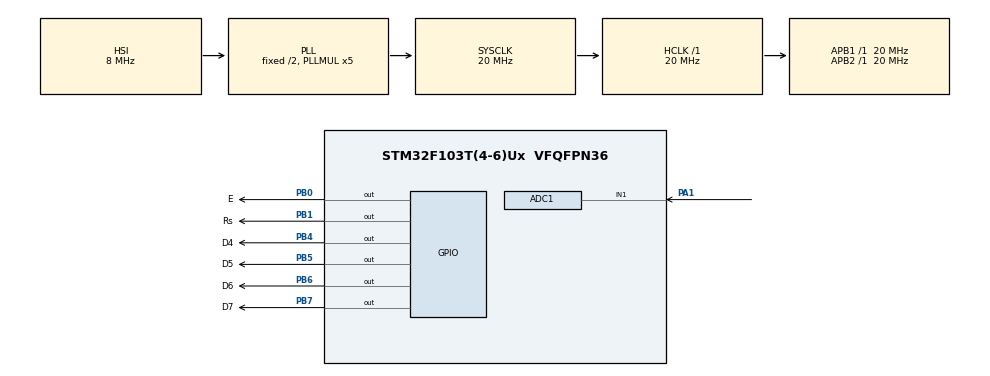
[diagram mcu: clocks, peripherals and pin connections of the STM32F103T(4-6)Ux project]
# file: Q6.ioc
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ADC1.Channel-0\#ChannelRegularConversion=ADC_CHANNEL_1
ADC1.NbrOfConversionFlag=1
ADC1.Rank-0\#ChannelRegularConversion=1
ADC1.SamplingTime-0\#ChannelRegularConversion=ADC_SAMPLETIME_1CYCLE_5
ADC1.master=1
Mcu.Family=STM32F1
Mcu.Name=STM32F103T(4-6)Ux
Mcu.Package=VFQFPN36
NVIC.PriorityGroup=NVIC_PRIORITYGROUP_4
PA1.Signal=ADCx_IN1
PB0.GPIO_Label=E
PB0.Signal=GPIO_Output
PB1.GPIO_Label=Rs
PB1.Signal=GPIO_Output
PB4.GPIO_Label=D4
PB4.Signal=GPIO_Output
PB5.GPIO_Label=D5
PB5.Signal=GPIO_Output
PB6.GPIO_Label=D6
PB6.Signal=GPIO_Output
PB7.GPIO_Label=D7
PB7.Signal=GPIO_Output
ProjectManager.HeapSize=0x200
ProjectManager.StackSize=0x400
ProjectManager.TargetToolchain=STM32CubeIDE
RCC.AHBFreq_Value=20000000
RCC.APB1Freq_Value=20000000
RCC.APB1TimFreq_Value=20000000
RCC.APB2Freq_Value=20000000
RCC.APB2TimFreq_Value=20000000
RCC.HCLKFreq_Value=20000000
RCC.PLLMUL=RCC_PLL_MUL5
RCC.SYSCLKFreq_VALUE=20000000
RCC.SYSCLKSource=RCC_SYSCLKSOURCE_PLLCLK
RCC.USBFreq_Value=20000000
SH.ADCx_IN1.0=ADC1_IN1,IN1
board=custom

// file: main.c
/* USER CODE BEGIN Header */
/**
  ******************************************************************************
  * @file           : main.c
  * @brief          : Main program body
  ******************************************************************************
  * @attention
  *
  * Copyright (c) 2023 STMicroelectronics.
  * All rights reserved.
  *
  * This software is licensed under terms that can be found in the LICENSE file
  * in the root directory of this software component.
  * If no LICENSE file comes with this software, it is provided AS-IS.
  *
  ******************************************************************************
  */
#include "lcd.h"
#include <stdio.h>

/* USER CODE END Header */
#include "main.h"

/* USER CODE BEGIN Includes */
Lcd_HandleTypeDef lcd;
Lcd_PinType Pins[] = {GPIO_PIN_4,GPIO_PIN_5,GPIO_PIN_6,GPIO_PIN_7};
Lcd_PortType Ports[] = {GPIOB,GPIOB,GPIOB,GPIOB};

/* USER CODE END Includes */

ADC_HandleTypeDef hadc1;

void SystemClock_Config(void);
static void MX_GPIO_Init(void);
static void MX_ADC1_Init(void);

/* USER CODE BEGIN 0 */
int adcValue;
/* USER CODE END 0 */

int main(void)
{
  /* USER CODE BEGIN 1 */
	char stra[16];
	float a = 309.6;
	float b = -13.04;
//	char strb[16];
//	float b ;
  /* USER CODE END 1 */

  /* MCU Configuration--------------------------------------------------------*/

  /* Reset of all peripherals, Initializes the Flash interface and the Systick. */
  HAL_Init();

  /* Configure the system clock */
  SystemClock_Config();

  /* Initialize all configured peripherals */
  MX_GPIO_Init();
  MX_ADC1_Init();
  /* USER CODE BEGIN 2 */
  lcd = Lcd_create(Ports, Pins, GPIOB, GPIO_PIN_1, GPIOB, GPIO_PIN_0, LCD_4_BIT_MODE);
  /* USER CODE END 2 */

  /* Infinite loop */
  /* USER CODE BEGIN WHILE */
  int wait_time = 5;
  while (1)
  {
	  HAL_ADC_Start(&hadc1);
	  if(HAL_ADC_PollForConversion(&hadc1,wait_time)==HAL_OK)
	  {
		  adcValue = HAL_ADC_GetValue(&hadc1);
//	      char binaryStr[13];  // Assuming a 12-bit ADC
//	      intToBinaryString(adcValue, binaryStr, sizeof(binaryStr));
//		  Lcd_cursor(&lcd, 0, 0);
//		  Lcd_string(&lcd, binaryStr);
		  float voltage = (float)adcValue * 5 / 4095.0f;  // Conversion formula
		  voltage = 1/voltage;
//		  sprintf(stra, "Voltage: %.2fV", voltage);  // Format the voltage value
		  float D = voltage*a + b;
	        int DInt = D * 100;
	        int DWhole = DInt / 100;
	        int DFraction = DInt % 100;

	        sprintf(stra, "D(cm): %d.%02d cm", DWhole, DFraction);
		  Lcd_cursor(&lcd, 0, 0);
		  Lcd_string(&lcd, stra);
	  }
	  HAL_ADC_Stop(&hadc1);
	  HAL_Delay(100);
    /* USER CODE END WHILE */

  }
}

void SystemClock_Config(void)
{
  RCC_OscInitTypeDef RCC_OscInitStruct = {0};
  RCC_ClkInitTypeDef RCC_ClkInitStruct = {0};
  RCC_PeriphCLKInitTypeDef PeriphClkInit = {0};

  /** Initializes the RCC Oscillators according to the specified parameters
  * in the RCC_OscInitTypeDef structure.
  */
  RCC_OscInitStruct.OscillatorType = RCC_OSCILLATORTYPE_HSI;
  RCC_OscInitStruct.HSIState = RCC_HSI_ON;
  RCC_OscInitStruct.HSICalibrationValue = RCC_HSICALIBRATION_DEFAULT;
  RCC_OscInitStruct.PLL.PLLState = RCC_PLL_ON;
  RCC_OscInitStruct.PLL.PLLSource = RCC_PLLSOURCE_HSI_DIV2;
  RCC_OscInitStruct.PLL.PLLMUL = RCC_PLL_MUL5;
  if (HAL_RCC_OscConfig(&RCC_OscInitStruct) != HAL_OK)
  {
    Error_Handler();
  }

  /** Initializes the CPU, AHB and APB buses clocks
  */
  RCC_ClkInitStruct.ClockType = RCC_CLOCKTYPE_HCLK|RCC_CLOCKTYPE_SYSCLK
                              |RCC_CLOCKTYPE_PCLK1|RCC_CLOCKTYPE_PCLK2;
  RCC_ClkInitStruct.SYSCLKSource = RCC_SYSCLKSOURCE_PLLCLK;
  RCC_ClkInitStruct.AHBCLKDivider = RCC_SYSCLK_DIV1;
  RCC_ClkInitStruct.APB1CLKDivider = RCC_HCLK_DIV1;
  RCC_ClkInitStruct.APB2CLKDivider = RCC_HCLK_DIV1;

  if (HAL_RCC_ClockConfig(&RCC_ClkInitStruct, FLASH_LATENCY_0) != HAL_OK)
  {
    Error_Handler();
  }
  PeriphClkInit.PeriphClockSelection = RCC_PERIPHCLK_ADC;
  PeriphClkInit.AdcClockSelection = RCC_ADCPCLK2_DIV2;
  if (HAL_RCCEx_PeriphCLKConfig(&PeriphClkInit) != HAL_OK)
  {
    Error_Handler();
  }
}

static void MX_ADC1_Init(void)
{

  ADC_ChannelConfTypeDef sConfig = {0};

  /** Common config
  */
  hadc1.Instance = ADC1;
  hadc1.Init.ScanConvMode = ADC_SCAN_DISABLE;
  hadc1.Init.ContinuousConvMode = DISABLE;
  hadc1.Init.DiscontinuousConvMode = DISABLE;
  hadc1.Init.ExternalTrigConv = ADC_SOFTWARE_START;
  hadc1.Init.DataAlign = ADC_DATAALIGN_RIGHT;
  hadc1.Init.NbrOfConversion = 1;
  if (HAL_ADC_Init(&hadc1) != HAL_OK)
  {
    Error_Handler();
  }

  /** Configure Regular Channel
  */
  sConfig.Channel = ADC_CHANNEL_1;
  sConfig.Rank = ADC_REGULAR_RANK_1;
  sConfig.SamplingTime = ADC_SAMPLETIME_1CYCLE_5;
  if (HAL_ADC_ConfigChannel(&hadc1, &sConfig) != HAL_OK)
  {
    Error_Handler();
  }

}

static void MX_GPIO_Init(void)
{
  GPIO_InitTypeDef GPIO_InitStruct = {0};

  /* GPIO Ports Clock Enable */
  __HAL_RCC_GPIOA_CLK_ENABLE();
  __HAL_RCC_GPIOB_CLK_ENABLE();

  /*Configure GPIO pin Output Level */
  HAL_GPIO_WritePin(GPIOB, E_Pin|Rs_Pin|D4_Pin|D5_Pin
                          |D6_Pin|D7_Pin, GPIO_PIN_RESET);

  /*Configure GPIO pins : E_Pin Rs_Pin D4_Pin D5_Pin
                           D6_Pin D7_Pin */
  GPIO_InitStruct.Pin = E_Pin|Rs_Pin|D4_Pin|D5_Pin
                          |D6_Pin|D7_Pin;
  GPIO_InitStruct.Mode = GPIO_MODE_OUTPUT_PP;
  GPIO_InitStruct.Pull = GPIO_NOPULL;
  GPIO_InitStruct.Speed = GPIO_SPEED_FREQ_LOW;
  HAL_GPIO_Init(GPIOB, &GPIO_InitStruct);

}

void Error_Handler(void)
{
  __disable_irq();
  while (1)
  {
  }
}
